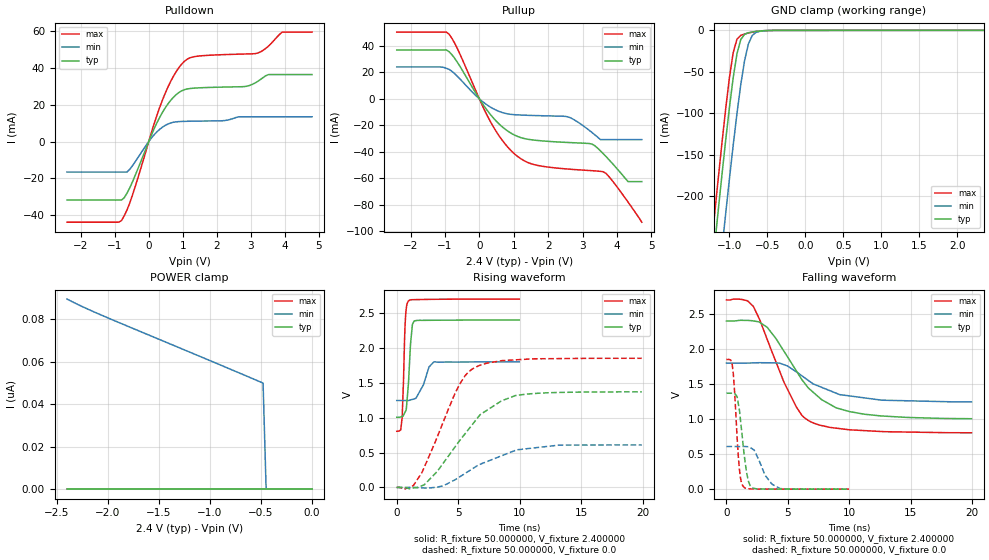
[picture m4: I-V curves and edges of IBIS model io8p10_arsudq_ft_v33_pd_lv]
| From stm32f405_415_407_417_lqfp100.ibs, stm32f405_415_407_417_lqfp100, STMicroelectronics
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|   Model io8p10_arsudq_ft_v33_pd_lv
[Model]  io8p10_arsudq_ft_v33_pd_lv
Model_type I/O
Polarity   Non-Inverting
Enable   Active-Low
Vinl =   0.720000V
Vinh =   1.680000V
Vmeas =  1.200000V
Cref =   40.000000pF
Rref =   100.000000M
Vref =   0.0V
C_comp   2.238700pF   2.180600pF   2.332300pF
[Temperature Range]   25.000000   0.125000k   -40.000000
[Pullup Reference]   2.400000V   1.800000V   2.700000V
[Pulldown Reference]   0.0V   0.0V   0.0V
[POWER Clamp Reference]   2.400000V   1.800000V   2.700000V
[GND Clamp Reference]   0.0V   0.0V   0.0V
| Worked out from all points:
|   slope of the pulldown table from 0 to 0.36 V, typ, clamps not added: 25 ohm
|   slope of the pullup table from 0 to 0.36 V, typ, clamps not added: 27.7 ohm
|   GND clamp passes 1 mA (typ) near -0.62 V on its own axis
|   rising waveform, R_fixture 50.000000, V_fixture 2.400000: 20-80 % time 303ps typ, 746ps min, 199ps max; typ from 1 V to 2.4 V
|   rising waveform, R_fixture 50.000000, V_fixture 0.0: 20-80 % time 3.77ns typ, 4.16ns min, 2.69ns max; typ from 0 V to 1.37 V
|   falling waveform, R_fixture 50.000000, V_fixture 2.400000: 20-80 % time 3.57ns typ, 3.55ns min, 2.74ns max; typ from 2.4 V to 1 V
|   falling waveform, R_fixture 50.000000, V_fixture 0.0: 20-80 % time 534ps typ, 1.04ns min, 386ps max; typ from 1.37 V to 0 V
[Pulldown]
|Voltage   I(typ)   I(min)   I(max)
-2.4V     -31.73mA   -16.51mA   -43.74mA
-800mV    -31.73mA   -16.51mA   -42.87mA
-480mV    -21.98mA   -13.17mA   -29.2mA
80mV      3.63mA     1.966mA    5.014mA
480mV     18.15mA    8.738mA    26.02mA
800mV     25.38mA    10.72mA    37.77mA
1.12V     28.53mA    11.02mA    44.6mA
2.8V      29.84mA    13.47mA    47.53mA
3.2V      32.64mA    13.47mA    48.04mA
3.52V     36.39mA    13.47mA    51.82mA
3.92V     36.39mA    13.47mA    59.43mA
4.8V      36.39mA    13.47mA    59.43mA
[Pullup]
|Voltage   I(typ)   I(min)   I(max)
-2.4V     36.88mA    24.03mA    50.34mA
-960mV    36.88mA    23.04mA    50.34mA
-640mV    27.65mA    17.03mA    37.99mA
320mV     -11.75mA   -6.207mA   -17.08mA
640mV     -20.52mA   -10.1mA    -30.35mA
960mV     -26.47mA   -11.82mA   -40.02mA
1.52V     -30.88mA   -12.51mA   -49.05mA
2.56V     -32.88mA   -13.48mA   -52.9mA
3.28V     -34.19mA   -25.5mA    -54.18mA
3.6V      -41.31mA   -30.74mA   -54.97mA
4.32V     -62.39mA   -30.74mA   -77.8mA
4.72V     -62.39mA   -30.74mA   -93mA
[GND_clamp]
|Voltage   I(typ)   I(min)   I(max)
-2.4V     -1.424A    -1.508A    -1.394A
-1.25V    -311.2mA   -401.9mA   -273.3mA
-1.2V     -265.4mA   -356.1mA   -227.2mA
-1.15V    -220.4mA   -310.8mA   -181.9mA
-1.1V     -176.3mA   -266.2mA   -137.9mA
-1.05V    -133.8mA   -222.5mA   -95.87mA
-950mV    -57.3mA    -138.9mA   -26.99mA
-900mV    -28.28mA   -100.4mA   -10.6mA
-850mV    -11.02mA   -65.54mA   -5.972mA
-750mV    -2.846mA   -16.51mA   -3.192mA
-600mV    -761.3uA   -1.173mA   -751.9uA
2.35V     58.09uA    37.92uA    67.25uA
[POWER_clamp]
|Voltage   I(typ)   I(min)   I(max)
-2.4V     0A         89.62nA    0A
-2.04V    0A         81.57nA    0A
-480mV    0A         50.01nA    0A
-450mV    0A         0A         0A
0V        0A         0A         0A
[Ramp]
| variable   typ   min   max
dV/dt_r  0.82152/3.76780n   0.36550/4.16535n   1.11354/2.69964n
dV/dt_f  0.83376/3.57769n   0.33414/3.59897n   1.13623/2.74074n
R_load = 50.000000
[Rising Waveform]
R_fixture= 50.000000
V_fixture= 2.400000
V_fixture_min= 1.800000
V_fixture_max= 2.700000
|time   V(typ)   V(min)   V(max)
0s        1.005V     1.245V     804.5mV
320.3ps   1.01V      1.245V     822.5mV
440.4ps   1.015V     1.245V     1.001V
680.7ps   1.08V      1.245V     2.331V
800.8ps   1.171V     1.245V     2.598V
961ps     1.513V     1.245V     2.672V
1.121ns   2.054V     1.253V     2.687V
1.421ns   2.385V     1.269V     2.691V
3.023ns   2.395V     1.8V       2.695V
9.97ns    2.399V     1.799V     2.699V
[Rising Waveform]
R_fixture= 50.000000
V_fixture= 0.0
V_fixture_min= 0.0
V_fixture_max= 0.0
|time   V(typ)   V(min)   V(max)
0s        75.03uV    35.24uV    234.9uV
1.361ns   -7.739mV   -507.1uV   28.08mV
2.042ns   23.59mV    -6.464mV   210.7mV
3.283ns   227.4mV    3.255mV    716.1mV
4.805ns   595.4mV    116mV      1.37V
5.566ns   770.1mV    200.9mV    1.601V
6.366ns   948.7mV    290.4mV    1.719V
8.488ns   1.237V     450.2mV    1.814V
9.65ns    1.316V     530.7mV    1.828V
19.94ns   1.369V     608.5mV    1.85V
[Falling Waveform]
R_fixture= 50.000000
V_fixture= 2.400000
V_fixture_min= 1.800000
V_fixture_max= 2.700000
|time   V(typ)   V(min)   V(max)
0s        2.399V     1.799V     2.699V
1.682ns   2.408V     1.799V     2.689V
2.202ns   2.4V       1.801V     2.604V
3.323ns   2.308V     1.803V     2.133V
4.685ns   1.967V     1.776V     1.524V
6.126ns   1.565V     1.619V     1.056V
6.767ns   1.427V     1.538V     969.7mV
8.929ns   1.16V      1.369V     870.1mV
10.05ns   1.106V     1.33V      846.5mV
19.94ns   1.005V     1.245V     804.5mV
[Falling Waveform]
R_fixture= 50.000000
V_fixture= 0.0
V_fixture_min= 0.0
V_fixture_max= 0.0
|time   V(typ)   V(min)   V(max)
0s        1.369V     608.5mV    1.85V
460.5ps   1.37V      608.3mV    1.789V
660.7ps   1.365V     608.2mV    1.395V
1.041ns   1.144V     608mV      311.2mV
1.421ns   520.2mV    608.9mV    29mV
1.802ns   105.6mV    604.9mV    5.493mV
2.202ns   13.52mV    562.8mV    2.496mV
3.143ns   1.822mV    198.3mV    1.459mV
4.364ns   959.6uV    9.504mV    935.4uV
9.97ns    75.03uV    35.24uV    234.9uV
